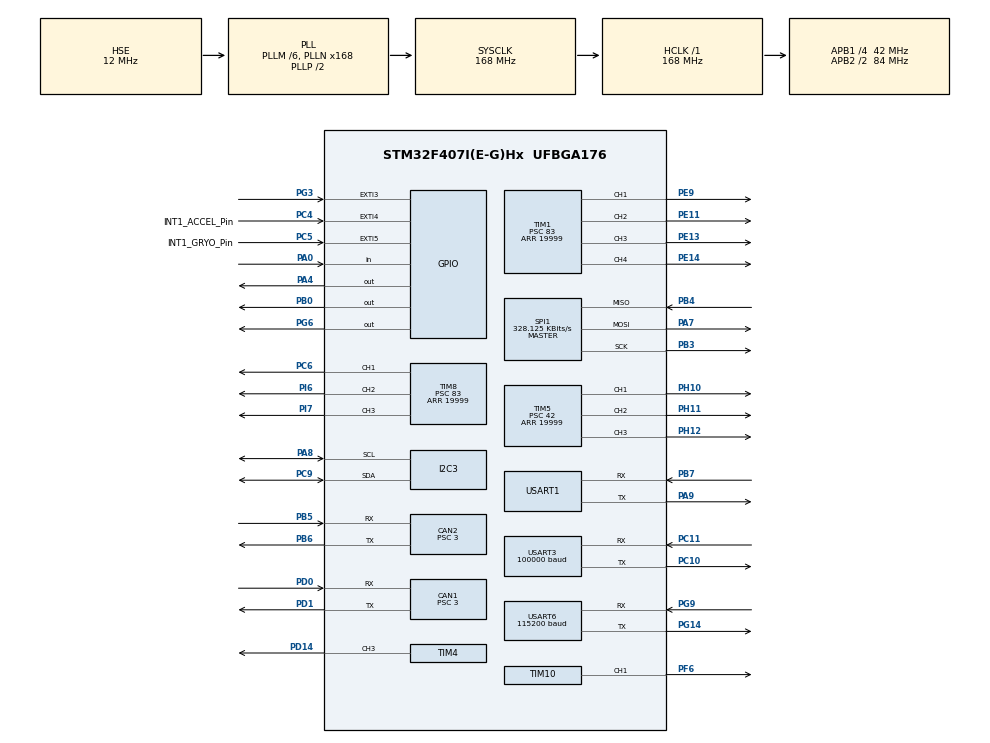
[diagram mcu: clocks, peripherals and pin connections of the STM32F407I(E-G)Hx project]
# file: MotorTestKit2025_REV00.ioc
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CAN1.BS1=CAN_BS1_10TQ
CAN1.BS2=CAN_BS2_3TQ
CAN1.CalculateBaudRate=1000000
CAN1.CalculateTimeBit=1000
CAN1.CalculateTimeQuantum=71.42857142857143
CAN1.Prescaler=3
CAN2.BS1=CAN_BS1_10TQ
CAN2.BS2=CAN_BS2_3TQ
CAN2.CalculateBaudRate=1000000
CAN2.CalculateTimeBit=1000
CAN2.CalculateTimeQuantum=71.42857142857143
CAN2.Prescaler=3
Dma.Request0=USART3_RX
Dma.Request1=USART1_RX
Dma.Request2=USART6_RX
Dma.USART1_RX.1.Direction=DMA_PERIPH_TO_MEMORY
Dma.USART1_RX.1.FIFOMode=DMA_FIFOMODE_DISABLE
Dma.USART1_RX.1.Instance=DMA2_Stream2
Dma.USART1_RX.1.MemDataAlignment=DMA_MDATAALIGN_BYTE
Dma.USART1_RX.1.MemInc=DMA_MINC_ENABLE
Dma.USART1_RX.1.Mode=DMA_NORMAL
Dma.USART1_RX.1.PeriphDataAlignment=DMA_PDATAALIGN_BYTE
Dma.USART1_RX.1.PeriphInc=DMA_PINC_DISABLE
Dma.USART1_RX.1.Priority=DMA_PRIORITY_VERY_HIGH
Dma.USART3_RX.0.Direction=DMA_PERIPH_TO_MEMORY
Dma.USART3_RX.0.FIFOMode=DMA_FIFOMODE_DISABLE
Dma.USART3_RX.0.Instance=DMA1_Stream1
Dma.USART3_RX.0.MemDataAlignment=DMA_MDATAALIGN_BYTE
Dma.USART3_RX.0.MemInc=DMA_MINC_ENABLE
Dma.USART3_RX.0.Mode=DMA_CIRCULAR
Dma.USART3_RX.0.PeriphDataAlignment=DMA_PDATAALIGN_BYTE
Dma.USART3_RX.0.PeriphInc=DMA_PINC_DISABLE
Dma.USART3_RX.0.Priority=DMA_PRIORITY_VERY_HIGH
Dma.USART6_RX.2.Direction=DMA_PERIPH_TO_MEMORY
Dma.USART6_RX.2.FIFOMode=DMA_FIFOMODE_DISABLE
Dma.USART6_RX.2.Instance=DMA2_Stream1
Dma.USART6_RX.2.MemDataAlignment=DMA_MDATAALIGN_BYTE
Dma.USART6_RX.2.MemInc=DMA_MINC_ENABLE
Dma.USART6_RX.2.Mode=DMA_NORMAL
Dma.USART6_RX.2.PeriphDataAlignment=DMA_PDATAALIGN_BYTE
Dma.USART6_RX.2.PeriphInc=DMA_PINC_DISABLE
Dma.USART6_RX.2.Priority=DMA_PRIORITY_VERY_HIGH
FREERTOS.INCLUDE_pcTaskGetTaskName=1
FREERTOS.INCLUDE_xTaskGetHandle=1
FREERTOS.Tasks01=FlowManager,48,128,StartFlowManager,Default,NULL,Dynamic,NULL,NULL;IMUtempPIDtask,24,512,imu_temp_control_task,As weak,NULL,Dynamic,NULL,NULL;ChassisTask,24,1024,StartChassisTask,Default,NULL,Dynamic,NULL,NULL
FREERTOS.configUSE_NEWLIB_REENTRANT=1
I2C3.I2C_Mode=I2C_Fast
Mcu.Family=STM32F4
Mcu.Name=STM32F407I(E-G)Hx
Mcu.Package=UFBGA176
NVIC.CAN1_RX0_IRQn=true\:5\:0\:false\:false\:true\:true\:true\:true\:true
NVIC.CAN2_RX0_IRQn=true\:5\:0\:false\:false\:true\:true\:true\:true\:true
NVIC.DMA1_Stream1_IRQn=true\:5\:0\:false\:false\:true\:true\:false\:true\:true
NVIC.DMA2_Stream1_IRQn=true\:5\:0\:false\:false\:true\:true\:false\:true\:true
NVIC.DMA2_Stream2_IRQn=true\:5\:0\:false\:false\:true\:true\:false\:true\:true
NVIC.EXTI3_IRQn=true\:5\:0\:false\:false\:true\:true\:true\:true\:true
NVIC.EXTI4_IRQn=true\:5\:0\:false\:false\:true\:true\:true\:true\:true
NVIC.PriorityGroup=NVIC_PRIORITYGROUP_4
NVIC.USART1_IRQn=true\:5\:0\:false\:false\:true\:true\:true\:true\:true
NVIC.USART6_IRQn=true\:5\:0\:false\:false\:true\:true\:true\:true\:true
PA0-WKUP.Signal=GPIO_Input
PA13.Mode=Serial_Wire
PA13.Signal=SYS_JTMS-SWDIO
PA14.Mode=Serial_Wire
PA14.Signal=SYS_JTCK-SWCLK
PA4.Signal=GPIO_Output
PA7.Mode=Full_Duplex_Master
PA7.Signal=SPI1_MOSI
PA8.Mode=I2C
PA8.Signal=I2C3_SCL
PA9.Mode=Asynchronous
PA9.Signal=USART1_TX
PB0.Signal=GPIO_Output
PB3.Mode=Full_Duplex_Master
PB3.Signal=SPI1_SCK
PB4.Mode=Full_Duplex_Master
PB4.Signal=SPI1_MISO
PB5.Mode=CAN_Activate
PB5.Signal=CAN2_RX
PB6.Mode=CAN_Activate
PB6.Signal=CAN2_TX
PB7.Mode=Asynchronous
PB7.Signal=USART1_RX
PC10.Mode=Asynchronous
PC10.Signal=USART3_TX
PC11.Mode=Asynchronous
PC11.Signal=USART3_RX
PC4.GPIO_Label=INT1_ACCEL_Pin
PC4.Signal=GPXTI4
PC5.GPIO_Label=INT1_GRYO_Pin
PC5.Signal=GPXTI5
PC6.Signal=S_TIM8_CH1
PC9.Mode=I2C
PC9.Signal=I2C3_SDA
PD0.Mode=CAN_Activate
PD0.Signal=CAN1_RX
PD1.Mode=CAN_Activate
PD1.Signal=CAN1_TX
PD14.Signal=S_TIM4_CH3
PE11.Signal=S_TIM1_CH2
PE13.Signal=S_TIM1_CH3
PE14.Signal=S_TIM1_CH4
PE9.Signal=S_TIM1_CH1
PF6.GPIO_PuPd=GPIO_PULLUP
PF6.GPIO_Speed=GPIO_SPEED_FREQ_HIGH
PF6.Signal=S_TIM10_CH1
PG14.Mode=Asynchronous
PG14.Signal=USART6_TX
PG3.Signal=GPXTI3
PG6.Signal=GPIO_Output
PG9.Mode=Asynchronous
PG9.Signal=USART6_RX
PH0-OSC_IN.Mode=HSE-External-Oscillator
PH0-OSC_IN.Signal=RCC_OSC_IN
PH1-OSC_OUT.Mode=HSE-External-Oscillator
PH1-OSC_OUT.Signal=RCC_OSC_OUT
PH10.Signal=S_TIM5_CH1
PH11.Signal=S_TIM5_CH2
PH12.Signal=S_TIM5_CH3
PI6.Signal=S_TIM8_CH2
PI7.Signal=S_TIM8_CH3
ProjectManager.HeapSize=0x200
ProjectManager.StackSize=0x400
ProjectManager.TargetToolchain=STM32CubeIDE
RCC.48MHZClocksFreq_Value=84000000
RCC.AHBFreq_Value=168000000
RCC.APB1CLKDivider=RCC_HCLK_DIV4
RCC.APB1Freq_Value=42000000
RCC.APB1TimFreq_Value=84000000
RCC.APB2CLKDivider=RCC_HCLK_DIV2
RCC.APB2Freq_Value=84000000
RCC.APB2TimFreq_Value=168000000
RCC.CortexFreq_Value=168000000
RCC.EnbaleCSS=true
RCC.HCLKFreq_Value=168000000
RCC.HSE_VALUE=12000000
RCC.HSI_VALUE=16000000
RCC.LSE_VALUE=32768
RCC.PLLM=6
RCC.PLLN=168
RCC.PLLSourceVirtual=RCC_PLLSOURCE_HSE
RCC.SYSCLKFreq_VALUE=168000000
RCC.SYSCLKSource=RCC_SYSCLKSOURCE_PLLCLK
RCC.VCOOutputFreq_Value=336000000
SH.S_TIM10_CH1.0=TIM10_CH1,PWM Generation1 CH1
SH.S_TIM1_CH1.0=TIM1_CH1,PWM Generation1 CH1
SH.S_TIM1_CH2.0=TIM1_CH2,PWM Generation2 CH2
SH.S_TIM1_CH3.0=TIM1_CH3,PWM Generation3 CH3
SH.S_TIM1_CH4.0=TIM1_CH4,PWM Generation4 CH4
SH.S_TIM4_CH3.0=TIM4_CH3,PWM Generation3 CH3
SH.S_TIM5_CH1.0=TIM5_CH1,PWM Generation1 CH1
SH.S_TIM5_CH2.0=TIM5_CH2,PWM Generation2 CH2
SH.S_TIM5_CH3.0=TIM5_CH3,PWM Generation3 CH3
SH.S_TIM8_CH1.0=TIM8_CH1,PWM Generation1 CH1
SH.S_TIM8_CH2.0=TIM8_CH2,PWM Generation2 CH2
SH.S_TIM8_CH3.0=TIM8_CH3,PWM Generation3 CH3
SPI1.BaudRatePrescaler=SPI_BAUDRATEPRESCALER_256
SPI1.CLKPhase=SPI_PHASE_2EDGE
SPI1.CLKPolarity=SPI_POLARITY_HIGH
SPI1.CalculateBaudRate=328.125 KBits/s
SPI1.Direction=SPI_DIRECTION_2LINES
SPI1.Mode=SPI_MODE_MASTER
SPI1.VirtualType=VM_MASTER
TIM1.AutoReloadPreload=TIM_AUTORELOAD_PRELOAD_DISABLE
TIM1.Channel-PWM\ Generation1\ CH1=TIM_CHANNEL_1
TIM1.Channel-PWM\ Generation2\ CH2=TIM_CHANNEL_2
TIM1.Channel-PWM\ Generation3\ CH3=TIM_CHANNEL_3
TIM1.Channel-PWM\ Generation4\ CH4=TIM_CHANNEL_4
TIM1.Period=19999
TIM1.Prescaler=83
TIM1.Pulse-PWM\ Generation1\ CH1=0
TIM10.Channel=TIM_CHANNEL_1
TIM10.Period=4999
TIM4.AutoReloadPreload=TIM_AUTORELOAD_PRELOAD_ENABLE
TIM4.Channel-PWM\ Generation3\ CH3=TIM_CHANNEL_3
TIM4.Period=20999
TIM4.Pulse-PWM\ Generation3\ CH3=10499
TIM5.Channel-PWM\ Generation1\ CH1=TIM_CHANNEL_1
TIM5.Channel-PWM\ Generation2\ CH2=TIM_CHANNEL_2
TIM5.Channel-PWM\ Generation3\ CH3=TIM_CHANNEL_3
TIM5.Period=19999
TIM5.Prescaler=42
TIM8.AutoReloadPreload=TIM_AUTORELOAD_PRELOAD_ENABLE
TIM8.Channel-PWM\ Generation1\ CH1=TIM_CHANNEL_1
TIM8.Channel-PWM\ Generation2\ CH2=TIM_CHANNEL_2
TIM8.Channel-PWM\ Generation3\ CH3=TIM_CHANNEL_3
TIM8.Period=19999
TIM8.Prescaler=83
USART1.VirtualMode=VM_ASYNC
USART3.BaudRate=100000
USART3.Parity=PARITY_EVEN
USART3.VirtualMode=VM_ASYNC
USART6.BaudRate=115200
USART6.VirtualMode=VM_ASYNC
VP_FREERTOS_VS_CMSIS_V2.Mode=CMSIS_V2
VP_TIM10_VS_ClockSourceINT.Mode=Enable_Timer
VP_TIM4_VS_ClockSourceINT.Mode=Internal
board=custom

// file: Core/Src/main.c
/* USER CODE BEGIN Header */
/**
  ******************************************************************************
  * @file           : main.c
  * @brief          : Main program body
  ******************************************************************************
  * @attention
  *
  * Copyright (c) 2025 STMicroelectronics.
  * All rights reserved.
  *
  * This software is licensed under terms that can be found in the LICENSE file
  * in the root directory of this software component.
  * If no LICENSE file comes with this software, it is provided AS-IS.
  *
  ******************************************************************************
  */
/* USER CODE END Header */
#include "main.h"
#include "cmsis_os.h"

/* USER CODE BEGIN Includes */
#include "UART_RM25.h"
#include "DBUS.h"
// #include "CC_Handler.h"
#include "CAN.h"
#include "CAL_RM25.h"

#include "BMI088driver.h"
#include "BMI088Middleware.h"
#include "BMI088reg.h"
#include "SWERVE.h"
#include "SwerveBuffer.h"
/* USER CODE END Includes */

CAN_HandleTypeDef hcan1;
CAN_HandleTypeDef hcan2;

I2C_HandleTypeDef hi2c3;

SPI_HandleTypeDef hspi1;

TIM_HandleTypeDef htim1;
TIM_HandleTypeDef htim4;
TIM_HandleTypeDef htim5;
TIM_HandleTypeDef htim8;
TIM_HandleTypeDef htim10;

UART_HandleTypeDef huart1;
UART_HandleTypeDef huart3;
UART_HandleTypeDef huart6;
DMA_HandleTypeDef hdma_usart1_rx;
DMA_HandleTypeDef hdma_usart3_rx;
DMA_HandleTypeDef hdma_usart6_rx;

/* Definitions for FlowManager */
osThreadId_t FlowManagerHandle;
const osThreadAttr_t FlowManager_attributes = {
  .name = "FlowManager",
  .stack_size = 128 * 4,
  .priority = (osPriority_t) osPriorityRealtime,
};
/* Definitions for IMUtempPIDtask */
osThreadId_t IMUtempPIDtaskHandle;
const osThreadAttr_t IMUtempPIDtask_attributes = {
  .name = "IMUtempPIDtask",
  .stack_size = 512 * 4,
  .priority = (osPriority_t) osPriorityNormal,
};
/* Definitions for ChassisTask */
osThreadId_t ChassisTaskHandle;
const osThreadAttr_t ChassisTask_attributes = {
  .name = "ChassisTask",
  .stack_size = 1024 * 4,
  .priority = (osPriority_t) osPriorityNormal,
};

void SystemClock_Config(void);
static void MX_GPIO_Init(void);
static void MX_DMA_Init(void);
static void MX_CAN1_Init(void);
static void MX_CAN2_Init(void);
static void MX_SPI1_Init(void);
static void MX_TIM4_Init(void);
static void MX_USART1_UART_Init(void);
static void MX_USART6_UART_Init(void);
static void MX_TIM1_Init(void);
static void MX_TIM8_Init(void);
static void MX_USART3_UART_Init(void);
static void MX_TIM10_Init(void);
static void MX_I2C3_Init(void);
static void MX_TIM5_Init(void);
void StartFlowManager(void *argument);
void imu_temp_control_task(void *argument);
void StartChassisTask(void *argument);

int main(void)
{

  /* MCU Configuration--------------------------------------------------------*/

  /* Reset of all peripherals, Initializes the Flash interface and the Systick. */
  HAL_Init();

  /* Configure the system clock */
  SystemClock_Config();

  /* Initialize all configured peripherals */
  MX_GPIO_Init();
  MX_DMA_Init();
  MX_CAN1_Init();
  MX_CAN2_Init();
  MX_SPI1_Init();
  MX_TIM4_Init();
  MX_USART1_UART_Init();
  MX_USART6_UART_Init();
  MX_TIM1_Init();
  MX_TIM8_Init();
  MX_USART3_UART_Init();
  MX_TIM10_Init();
  MX_I2C3_Init();
  MX_TIM5_Init();

  /* Init scheduler */
  osKernelInitialize();

  /* Create the thread(s) */
  /* creation of FlowManager */
  FlowManagerHandle = osThreadNew(StartFlowManager, NULL, &FlowManager_attributes);

  /* creation of IMUtempPIDtask */
  IMUtempPIDtaskHandle = osThreadNew(imu_temp_control_task, NULL, &IMUtempPIDtask_attributes);

  /* creation of ChassisTask */
  ChassisTaskHandle = osThreadNew(StartChassisTask, NULL, &ChassisTask_attributes);

  /* Start scheduler */
  osKernelStart();

  /* We should never get here as control is now taken by the scheduler */

  /* Infinite loop */
  while (1)
  {

  }
}

void SystemClock_Config(void)
{
  RCC_OscInitTypeDef RCC_OscInitStruct = {0};
  RCC_ClkInitTypeDef RCC_ClkInitStruct = {0};

  /** Configure the main internal regulator output voltage
  */
  __HAL_RCC_PWR_CLK_ENABLE();
  __HAL_PWR_VOLTAGESCALING_CONFIG(PWR_REGULATOR_VOLTAGE_SCALE1);

  /** Initializes the RCC Oscillators according to the specified parameters
  * in the RCC_OscInitTypeDef structure.
  */
  RCC_OscInitStruct.OscillatorType = RCC_OSCILLATORTYPE_HSE;
  RCC_OscInitStruct.HSEState = RCC_HSE_ON;
  RCC_OscInitStruct.PLL.PLLState = RCC_PLL_ON;
  RCC_OscInitStruct.PLL.PLLSource = RCC_PLLSOURCE_HSE;
  RCC_OscInitStruct.PLL.PLLM = 6;
  RCC_OscInitStruct.PLL.PLLN = 168;
  RCC_OscInitStruct.PLL.PLLP = RCC_PLLP_DIV2;
  RCC_OscInitStruct.PLL.PLLQ = 4;
  if (HAL_RCC_OscConfig(&RCC_OscInitStruct) != HAL_OK)
  {
    Error_Handler();
  }

  /** Initializes the CPU, AHB and APB buses clocks
  */
  RCC_ClkInitStruct.ClockType = RCC_CLOCKTYPE_HCLK|RCC_CLOCKTYPE_SYSCLK
                              |RCC_CLOCKTYPE_PCLK1|RCC_CLOCKTYPE_PCLK2;
  RCC_ClkInitStruct.SYSCLKSource = RCC_SYSCLKSOURCE_PLLCLK;
  RCC_ClkInitStruct.AHBCLKDivider = RCC_SYSCLK_DIV1;
  RCC_ClkInitStruct.APB1CLKDivider = RCC_HCLK_DIV4;
  RCC_ClkInitStruct.APB2CLKDivider = RCC_HCLK_DIV2;

  if (HAL_RCC_ClockConfig(&RCC_ClkInitStruct, FLASH_LATENCY_5) != HAL_OK)
  {
    Error_Handler();
  }

  /** Enables the Clock Security System
  */
  HAL_RCC_EnableCSS();
}

static void MX_CAN1_Init(void)
{

  hcan1.Instance = CAN1;
  hcan1.Init.Prescaler = 3;
  hcan1.Init.Mode = CAN_MODE_NORMAL;
  hcan1.Init.SyncJumpWidth = CAN_SJW_1TQ;
  hcan1.Init.TimeSeg1 = CAN_BS1_10TQ;
  hcan1.Init.TimeSeg2 = CAN_BS2_3TQ;
  hcan1.Init.TimeTriggeredMode = DISABLE;
  hcan1.Init.AutoBusOff = DISABLE;
  hcan1.Init.AutoWakeUp = DISABLE;
  hcan1.Init.AutoRetransmission = DISABLE;
  hcan1.Init.ReceiveFifoLocked = DISABLE;
  hcan1.Init.TransmitFifoPriority = DISABLE;
  if (HAL_CAN_Init(&hcan1) != HAL_OK)
  {
    Error_Handler();
  }

}

static void MX_CAN2_Init(void)
{

  hcan2.Instance = CAN2;
  hcan2.Init.Prescaler = 3;
  hcan2.Init.Mode = CAN_MODE_NORMAL;
  hcan2.Init.SyncJumpWidth = CAN_SJW_1TQ;
  hcan2.Init.TimeSeg1 = CAN_BS1_10TQ;
  hcan2.Init.TimeSeg2 = CAN_BS2_3TQ;
  hcan2.Init.TimeTriggeredMode = DISABLE;
  hcan2.Init.AutoBusOff = DISABLE;
  hcan2.Init.AutoWakeUp = DISABLE;
  hcan2.Init.AutoRetransmission = DISABLE;
  hcan2.Init.ReceiveFifoLocked = DISABLE;
  hcan2.Init.TransmitFifoPriority = DISABLE;
  if (HAL_CAN_Init(&hcan2) != HAL_OK)
  {
    Error_Handler();
  }

}

static void MX_I2C3_Init(void)
{

  hi2c3.Instance = I2C3;
  hi2c3.Init.ClockSpeed = 400000;
  hi2c3.Init.DutyCycle = I2C_DUTYCYCLE_2;
  hi2c3.Init.OwnAddress1 = 0;
  hi2c3.Init.AddressingMode = I2C_ADDRESSINGMODE_7BIT;
  hi2c3.Init.DualAddressMode = I2C_DUALADDRESS_DISABLE;
  hi2c3.Init.OwnAddress2 = 0;
  hi2c3.Init.GeneralCallMode = I2C_GENERALCALL_DISABLE;
  hi2c3.Init.NoStretchMode = I2C_NOSTRETCH_DISABLE;
  if (HAL_I2C_Init(&hi2c3) != HAL_OK)
  {
    Error_Handler();
  }

}

static void MX_SPI1_Init(void)
{

  /* SPI1 parameter configuration*/
  hspi1.Instance = SPI1;
  hspi1.Init.Mode = SPI_MODE_MASTER;
  hspi1.Init.Direction = SPI_DIRECTION_2LINES;
  hspi1.Init.DataSize = SPI_DATASIZE_8BIT;
  hspi1.Init.CLKPolarity = SPI_POLARITY_HIGH;
  hspi1.Init.CLKPhase = SPI_PHASE_2EDGE;
  hspi1.Init.NSS = SPI_NSS_SOFT;
  hspi1.Init.BaudRatePrescaler = SPI_BAUDRATEPRESCALER_256;
  hspi1.Init.FirstBit = SPI_FIRSTBIT_MSB;
  hspi1.Init.TIMode = SPI_TIMODE_DISABLE;
  hspi1.Init.CRCCalculation = SPI_CRCCALCULATION_DISABLE;
  hspi1.Init.CRCPolynomial = 10;
  if (HAL_SPI_Init(&hspi1) != HAL_OK)
  {
    Error_Handler();
  }

}

static void MX_TIM1_Init(void)
{

  TIM_MasterConfigTypeDef sMasterConfig = {0};
  TIM_OC_InitTypeDef sConfigOC = {0};
  TIM_BreakDeadTimeConfigTypeDef sBreakDeadTimeConfig = {0};

  htim1.Instance = TIM1;
  htim1.Init.Prescaler = 83;
  htim1.Init.CounterMode = TIM_COUNTERMODE_UP;
  htim1.Init.Period = 19999;
  htim1.Init.ClockDivision = TIM_CLOCKDIVISION_DIV1;
  htim1.Init.RepetitionCounter = 0;
  htim1.Init.AutoReloadPreload = TIM_AUTORELOAD_PRELOAD_DISABLE;
  if (HAL_TIM_PWM_Init(&htim1) != HAL_OK)
  {
    Error_Handler();
  }
  sMasterConfig.MasterOutputTrigger = TIM_TRGO_RESET;
  sMasterConfig.MasterSlaveMode = TIM_MASTERSLAVEMODE_DISABLE;
  if (HAL_TIMEx_MasterConfigSynchronization(&htim1, &sMasterConfig) != HAL_OK)
  {
    Error_Handler();
  }
  sConfigOC.OCMode = TIM_OCMODE_PWM1;
  sConfigOC.Pulse = 0;
  sConfigOC.OCPolarity = TIM_OCPOLARITY_HIGH;
  sConfigOC.OCNPolarity = TIM_OCNPOLARITY_HIGH;
  sConfigOC.OCFastMode = TIM_OCFAST_DISABLE;
  sConfigOC.OCIdleState = TIM_OCIDLESTATE_RESET;
  sConfigOC.OCNIdleState = TIM_OCNIDLESTATE_RESET;
  if (HAL_TIM_PWM_ConfigChannel(&htim1, &sConfigOC, TIM_CHANNEL_1) != HAL_OK)
  {
    Error_Handler();
  }
  if (HAL_TIM_PWM_ConfigChannel(&htim1, &sConfigOC, TIM_CHANNEL_2) != HAL_OK)
  {
    Error_Handler();
  }
  if (HAL_TIM_PWM_ConfigChannel(&htim1, &sConfigOC, TIM_CHANNEL_3) != HAL_OK)
  {
    Error_Handler();
  }
  if (HAL_TIM_PWM_ConfigChannel(&htim1, &sConfigOC, TIM_CHANNEL_4) != HAL_OK)
  {
    Error_Handler();
  }
  sBreakDeadTimeConfig.OffStateRunMode = TIM_OSSR_DISABLE;
  sBreakDeadTimeConfig.OffStateIDLEMode = TIM_OSSI_DISABLE;
  sBreakDeadTimeConfig.LockLevel = TIM_LOCKLEVEL_OFF;
  sBreakDeadTimeConfig.DeadTime = 0;
  sBreakDeadTimeConfig.BreakState = TIM_BREAK_DISABLE;
  sBreakDeadTimeConfig.BreakPolarity = TIM_BREAKPOLARITY_HIGH;
  sBreakDeadTimeConfig.AutomaticOutput = TIM_AUTOMATICOUTPUT_DISABLE;
  if (HAL_TIMEx_ConfigBreakDeadTime(&htim1, &sBreakDeadTimeConfig) != HAL_OK)
  {
    Error_Handler();
  }
  HAL_TIM_MspPostInit(&htim1);

}

static void MX_TIM4_Init(void)
{

  TIM_ClockConfigTypeDef sClockSourceConfig = {0};
  TIM_MasterConfigTypeDef sMasterConfig = {0};
  TIM_OC_InitTypeDef sConfigOC = {0};

  htim4.Instance = TIM4;
  htim4.Init.Prescaler = 0;
  htim4.Init.CounterMode = TIM_COUNTERMODE_UP;
  htim4.Init.Period = 20999;
  htim4.Init.ClockDivision = TIM_CLOCKDIVISION_DIV1;
  htim4.Init.AutoReloadPreload = TIM_AUTORELOAD_PRELOAD_ENABLE;
  if (HAL_TIM_Base_Init(&htim4) != HAL_OK)
  {
    Error_Handler();
  }
  sClockSourceConfig.ClockSource = TIM_CLOCKSOURCE_INTERNAL;
  if (HAL_TIM_ConfigClockSource(&htim4, &sClockSourceConfig) != HAL_OK)
  {
    Error_Handler();
  }
  if (HAL_TIM_PWM_Init(&htim4) != HAL_OK)
  {
    Error_Handler();
  }
  sMasterConfig.MasterOutputTrigger = TIM_TRGO_RESET;
  sMasterConfig.MasterSlaveMode = TIM_MASTERSLAVEMODE_DISABLE;
  if (HAL_TIMEx_MasterConfigSynchronization(&htim4, &sMasterConfig) != HAL_OK)
  {
    Error_Handler();
  }
  sConfigOC.OCMode = TIM_OCMODE_PWM1;
  sConfigOC.Pulse = 10499;
  sConfigOC.OCPolarity = TIM_OCPOLARITY_HIGH;
  sConfigOC.OCFastMode = TIM_OCFAST_DISABLE;
  if (HAL_TIM_PWM_ConfigChannel(&htim4, &sConfigOC, TIM_CHANNEL_3) != HAL_OK)
  {
    Error_Handler();
  }
  HAL_TIM_MspPostInit(&htim4);

}

static void MX_TIM5_Init(void)
{

  TIM_MasterConfigTypeDef sMasterConfig = {0};
  TIM_OC_InitTypeDef sConfigOC = {0};

  htim5.Instance = TIM5;
  htim5.Init.Prescaler = 42;
  htim5.Init.CounterMode = TIM_COUNTERMODE_UP;
  htim5.Init.Period = 19999;
  htim5.Init.ClockDivision = TIM_CLOCKDIVISION_DIV1;
  htim5.Init.AutoReloadPreload = TIM_AUTORELOAD_PRELOAD_DISABLE;
  if (HAL_TIM_PWM_Init(&htim5) != HAL_OK)
  {
    Error_Handler();
  }
  sMasterConfig.MasterOutputTrigger = TIM_TRGO_RESET;
  sMasterConfig.MasterSlaveMode = TIM_MASTERSLAVEMODE_DISABLE;
  if (HAL_TIMEx_MasterConfigSynchronization(&htim5, &sMasterConfig) != HAL_OK)
  {
    Error_Handler();
  }
  sConfigOC.OCMode = TIM_OCMODE_PWM1;
  sConfigOC.Pulse = 0;
  sConfigOC.OCPolarity = TIM_OCPOLARITY_HIGH;
  sConfigOC.OCFastMode = TIM_OCFAST_DISABLE;
  if (HAL_TIM_PWM_ConfigChannel(&htim5, &sConfigOC, TIM_CHANNEL_1) != HAL_OK)
  {
    Error_Handler();
  }
  if (HAL_TIM_PWM_ConfigChannel(&htim5, &sConfigOC, TIM_CHANNEL_2) != HAL_OK)
  {
    Error_Handler();
  }
  if (HAL_TIM_PWM_ConfigChannel(&htim5, &sConfigOC, TIM_CHANNEL_3) != HAL_OK)
  {
    Error_Handler();
  }
  HAL_TIM_MspPostInit(&htim5);

}

static void MX_TIM8_Init(void)
{

  TIM_MasterConfigTypeDef sMasterConfig = {0};
  TIM_OC_InitTypeDef sConfigOC = {0};
  TIM_BreakDeadTimeConfigTypeDef sBreakDeadTimeConfig = {0};

  htim8.Instance = TIM8;
  htim8.Init.Prescaler = 83;
  htim8.Init.CounterMode = TIM_COUNTERMODE_UP;
  htim8.Init.Period = 19999;
  htim8.Init.ClockDivision = TIM_CLOCKDIVISION_DIV1;
  htim8.Init.RepetitionCounter = 0;
  htim8.Init.AutoReloadPreload = TIM_AUTORELOAD_PRELOAD_ENABLE;
  if (HAL_TIM_PWM_Init(&htim8) != HAL_OK)
  {
    Error_Handler();
  }
  sMasterConfig.MasterOutputTrigger = TIM_TRGO_RESET;
  sMasterConfig.MasterSlaveMode = TIM_MASTERSLAVEMODE_DISABLE;
  if (HAL_TIMEx_MasterConfigSynchronization(&htim8, &sMasterConfig) != HAL_OK)
  {
    Error_Handler();
  }
  sConfigOC.OCMode = TIM_OCMODE_PWM1;
  sConfigOC.Pulse = 0;
  sConfigOC.OCPolarity = TIM_OCPOLARITY_HIGH;
  sConfigOC.OCNPolarity = TIM_OCNPOLARITY_HIGH;
  sConfigOC.OCFastMode = TIM_OCFAST_DISABLE;
  sConfigOC.OCIdleState = TIM_OCIDLESTATE_RESET;
  sConfigOC.OCNIdleState = TIM_OCNIDLESTATE_RESET;
  if (HAL_TIM_PWM_ConfigChannel(&htim8, &sConfigOC, TIM_CHANNEL_1) != HAL_OK)
  {
    Error_Handler();
  }
  if (HAL_TIM_PWM_ConfigChannel(&htim8, &sConfigOC, TIM_CHANNEL_2) != HAL_OK)
  {
    Error_Handler();
  }
  if (HAL_TIM_PWM_ConfigChannel(&htim8, &sConfigOC, TIM_CHANNEL_3) != HAL_OK)
  {
    Error_Handler();
  }
  sBreakDeadTimeConfig.OffStateRunMode = TIM_OSSR_DISABLE;
  sBreakDeadTimeConfig.OffStateIDLEMode = TIM_OSSI_DISABLE;
  sBreakDeadTimeConfig.LockLevel = TIM_LOCKLEVEL_OFF;
  sBreakDeadTimeConfig.DeadTime = 0;
  sBreakDeadTimeConfig.BreakState = TIM_BREAK_DISABLE;
  sBreakDeadTimeConfig.BreakPolarity = TIM_BREAKPOLARITY_HIGH;
  sBreakDeadTimeConfig.AutomaticOutput = TIM_AUTOMATICOUTPUT_DISABLE;
  if (HAL_TIMEx_ConfigBreakDeadTime(&htim8, &sBreakDeadTimeConfig) != HAL_OK)
  {
    Error_Handler();
  }
  HAL_TIM_MspPostInit(&htim8);

}

static void MX_TIM10_Init(void)
{

  TIM_OC_InitTypeDef sConfigOC = {0};

  htim10.Instance = TIM10;
  htim10.Init.Prescaler = 0;
  htim10.Init.CounterMode = TIM_COUNTERMODE_UP;
  htim10.Init.Period = 4999;
  htim10.Init.ClockDivision = TIM_CLOCKDIVISION_DIV1;
  htim10.Init.AutoReloadPreload = TIM_AUTORELOAD_PRELOAD_DISABLE;
  if (HAL_TIM_Base_Init(&htim10) != HAL_OK)
  {
    Error_Handler();
  }
  if (HAL_TIM_PWM_Init(&htim10) != HAL_OK)
  {
    Error_Handler();
  }
  sConfigOC.OCMode = TIM_OCMODE_PWM1;
  sConfigOC.Pulse = 0;
  sConfigOC.OCPolarity = TIM_OCPOLARITY_HIGH;
  sConfigOC.OCFastMode = TIM_OCFAST_DISABLE;
  if (HAL_TIM_PWM_ConfigChannel(&htim10, &sConfigOC, TIM_CHANNEL_1) != HAL_OK)
  {
    Error_Handler();
  }
  HAL_TIM_MspPostInit(&htim10);

}

static void MX_USART1_UART_Init(void)
{

  huart1.Instance = USART1;
  huart1.Init.BaudRate = 115200;
  huart1.Init.WordLength = UART_WORDLENGTH_8B;
  huart1.Init.StopBits = UART_STOPBITS_1;
  huart1.Init.Parity = UART_PARITY_NONE;
  huart1.Init.Mode = UART_MODE_TX_RX;
  huart1.Init.HwFlowCtl = UART_HWCONTROL_NONE;
  huart1.Init.OverSampling = UART_OVERSAMPLING_16;
  if (HAL_UART_Init(&huart1) != HAL_OK)
  {
    Error_Handler();
  }

}

static void MX_USART3_UART_Init(void)
{

  huart3.Instance = USART3;
  huart3.Init.BaudRate = 100000;
  huart3.Init.WordLength = UART_WORDLENGTH_8B;
  huart3.Init.StopBits = UART_STOPBITS_1;
  huart3.Init.Parity = UART_PARITY_EVEN;
  huart3.Init.Mode = UART_MODE_TX_RX;
  huart3.Init.HwFlowCtl = UART_HWCONTROL_NONE;
  huart3.Init.OverSampling = UART_OVERSAMPLING_16;
  if (HAL_UART_Init(&huart3) != HAL_OK)
  {
    Error_Handler();
  }

}

static void MX_USART6_UART_Init(void)
{

  huart6.Instance = USART6;
  huart6.Init.BaudRate = 115200;
  huart6.Init.WordLength = UART_WORDLENGTH_8B;
  huart6.Init.StopBits = UART_STOPBITS_1;
  huart6.Init.Parity = UART_PARITY_NONE;
  huart6.Init.Mode = UART_MODE_TX_RX;
  huart6.Init.HwFlowCtl = UART_HWCONTROL_NONE;
  huart6.Init.OverSampling = UART_OVERSAMPLING_16;
  if (HAL_UART_Init(&huart6) != HAL_OK)
  {
    Error_Handler();
  }

}

static void MX_DMA_Init(void)
{

  /* DMA controller clock enable */
  __HAL_RCC_DMA1_CLK_ENABLE();
  __HAL_RCC_DMA2_CLK_ENABLE();

  /* DMA interrupt init */
  /* DMA1_Stream1_IRQn interrupt configuration */
  HAL_NVIC_SetPriority(DMA1_Stream1_IRQn, 5, 0);
  HAL_NVIC_EnableIRQ(DMA1_Stream1_IRQn);
  /* DMA2_Stream1_IRQn interrupt configuration */
  HAL_NVIC_SetPriority(DMA2_Stream1_IRQn, 5, 0);
  HAL_NVIC_EnableIRQ(DMA2_Stream1_IRQn);
  /* DMA2_Stream2_IRQn interrupt configuration */
  HAL_NVIC_SetPriority(DMA2_Stream2_IRQn, 5, 0);
  HAL_NVIC_EnableIRQ(DMA2_Stream2_IRQn);

}

static void MX_GPIO_Init(void)
{
  GPIO_InitTypeDef GPIO_InitStruct = {0};

  /* GPIO Ports Clock Enable */
  __HAL_RCC_GPIOB_CLK_ENABLE();
  __HAL_RCC_GPIOG_CLK_ENABLE();
  __HAL_RCC_GPIOA_CLK_ENABLE();
  __HAL_RCC_GPIOD_CLK_ENABLE();
  __HAL_RCC_GPIOC_CLK_ENABLE();
  __HAL_RCC_GPIOI_CLK_ENABLE();
  __HAL_RCC_GPIOH_CLK_ENABLE();
  __HAL_RCC_GPIOF_CLK_ENABLE();
  __HAL_RCC_GPIOE_CLK_ENABLE();

  /*Configure GPIO pin Output Level */
  HAL_GPIO_WritePin(GPIOG, GPIO_PIN_6, GPIO_PIN_RESET);

  /*Configure GPIO pin Output Level */
  HAL_GPIO_WritePin(GPIOA, GPIO_PIN_4, GPIO_PIN_RESET);

  /*Configure GPIO pin Output Level */
  HAL_GPIO_WritePin(GPIOB, GPIO_PIN_0, GPIO_PIN_RESET);

  /*Configure GPIO pin : PG6 */
  GPIO_InitStruct.Pin = GPIO_PIN_6;
  GPIO_InitStruct.Mode = GPIO_MODE_OUTPUT_PP;
  GPIO_InitStruct.Pull = GPIO_NOPULL;
  GPIO_InitStruct.Speed = GPIO_SPEED_FREQ_LOW;
  HAL_GPIO_Init(GPIOG, &GPIO_InitStruct);

  /*Configure GPIO pin : PG3 */
  GPIO_InitStruct.Pin = GPIO_PIN_3;
  GPIO_InitStruct.Mode = GPIO_MODE_IT_RISING;
  GPIO_InitStruct.Pull = GPIO_NOPULL;
  HAL_GPIO_Init(GPIOG, &GPIO_InitStruct);

  /*Configure GPIO pin : PA0 */
  GPIO_InitStruct.Pin = GPIO_PIN_0;
  GPIO_InitStruct.Mode = GPIO_MODE_INPUT;
  GPIO_InitStruct.Pull = GPIO_NOPULL;
  HAL_GPIO_Init(GPIOA, &GPIO_InitStruct);

  /*Configure GPIO pin : PA4 */
  GPIO_InitStruct.Pin = GPIO_PIN_4;
  GPIO_InitStruct.Mode = GPIO_MODE_OUTPUT_PP;
  GPIO_InitStruct.Pull = GPIO_NOPULL;
  GPIO_InitStruct.Speed = GPIO_SPEED_FREQ_LOW;
  HAL_GPIO_Init(GPIOA, &GPIO_InitStruct);

  /*Configure GPIO pins : INT1_ACCEL_Pin_Pin INT1_GRYO_Pin_Pin */
  GPIO_InitStruct.Pin = INT1_ACCEL_Pin_Pin|INT1_GRYO_Pin_Pin;
  GPIO_InitStruct.Mode = GPIO_MODE_IT_RISING;
  GPIO_InitStruct.Pull = GPIO_NOPULL;
  HAL_GPIO_Init(GPIOC, &GPIO_InitStruct);

  /*Configure GPIO pin : PB0 */
  GPIO_InitStruct.Pin = GPIO_PIN_0;
  GPIO_InitStruct.Mode = GPIO_MODE_OUTPUT_PP;
  GPIO_InitStruct.Pull = GPIO_NOPULL;
  GPIO_InitStruct.Speed = GPIO_SPEED_FREQ_LOW;
  HAL_GPIO_Init(GPIOB, &GPIO_InitStruct);

  /* EXTI interrupt init*/
  HAL_NVIC_SetPriority(EXTI3_IRQn, 5, 0);
  HAL_NVIC_EnableIRQ(EXTI3_IRQn);

  HAL_NVIC_SetPriority(EXTI4_IRQn, 5, 0);
  HAL_NVIC_EnableIRQ(EXTI4_IRQn);

}

void StartFlowManager(void *argument)
{
  /* USER CODE BEGIN 5 */
	uint8_t iCount = 0;

	DBUS_Rx_Init(&huart3);

	UART_Ex_Init(&huart1);
	UART_Ex_Init(&huart6);
	CAN_Init();
	BMI088_gyro_init();
	BMI088_accel_init();
  /* Infinite loop */
  for(;;)
  {
	  DBUS_Update();

	  // UART_Printf(&huart1, "%d %d\r\n", CAL_getBufferEnergy(), CAL_getPowerLimit());

	  if(iCount%3==0){
		  CAL_Update();
	  }

	  //UART_Printf(&huart6,"DBUS Check: %d %d \n", getDR16_W(),getCC_W());
	  //UART_Printfmt(&huart6,"%d \n",getDR16_CH1());

	  if(iCount<255){
		  iCount++;
	  }else{
		  iCount = 0;
	  }
	  osDelay(1);
  }
  /* USER CODE END 5 */
}

__weak void imu_temp_control_task(void *argument)
{
  for(;;)
  {
    osDelay(1);
  }
}

/* USER CODE BEGIN Header_StartChassisTask */
/*
* @brief Function implementing the ChassisTask thread.
* @param argument: Not used
* @retval None
*/
/* USER CODE END Header_StartChassisTask */
void StartChassisTask(void *argument)
{
  /* USER CODE BEGIN StartChassisTask */

	/*
	You can write PID presets here
	EXAMPLE: PID_preset_t motorDrive1 = {300.0, 0.0001, 120.5};
		This will create a struct of PID_preset_t with PID values of 300.0f, 0.0001f, and 120.5f accordingly
	*/
	float accelR[3] = {0, 0, 0};
	int16_t gyroR[3] = {0, 0, 0};
	/*
	float averate[3][200] = {0};
	*/
	float SmartAve[4][3] = {0};

	uint16_t counter = 0;
  /* Infinite loop */
  for(;;)
  {
	  /*
		Hello!!! Welcome to the motor testing kit!

		Given Commands:
			UART_Printf(&huart1, "%d %d\r\n", CAL_getBufferEnergy(), CAL_getPowerLimit());
				Used to send TXT through UART such that the computer can read
				Uses default printf formatting except for an extra parameter at the front.
				This parameter will dictate which UART port is used.
					&huart1 = 4 pin UART
					&huart2 = 3 pin UART

				EXAMPLE: UART_Printf(&huart1, "Beanis: %d\r\n", 50);
					This will output: Beanis: 50
					this function returns nothing

			CAL_getCHX
				Replace X with 0 to 3, This allows

		CAN COMMANDS:
			getRotorPosition(CAN_Bus bus, MotorType_ID motorType, int8_t motorID);
				Used to get the current Rotor Position from 0 - 8191
				Note that this is the rotor side. This means that for the 3508, it's the fast spinning side, and not the gearbox side

				EXAMPLE: uint16_t pos = getRotorPosition(Bus1, M3508, 1);
					This will get the position encoder of the rotor from Bus 1 and motor ID of 1
					This function outputs an unsigned 16 bit integer.

			getMotorRPM(CAN_Bus bus, MotorType_ID motorType, int8_t motorID);
				Used to get the current Motor RPM
				Note that this is the Rotor side. This means that for the 3508, it's the fast spinning side, and not the gearbox side

				EXAMPLE: int16_t rps = getRotorRPM(Bus1, M3508, 1);
					This will get the position encoder of the Motor from Bus 1 and motor ID of 1
					This function outputs an unsigned 16 bit integer.

			setMotorRPM(CAN_Bus bus, MotorType_ID motorType, int8_t motorID, int16_t RPMtarget, PID_preset_t preset);
				Used to set the motor RPM
				This function automatically uses the "getMotorRPM()" as the RPM process variable
				Do note you will have to tune your own custom PID

				EXAMPLE: setMotorRPM(Bus1, M3508, 1, 10, motorDrive1);
					This will set the PID for Bus 1 of ID 1 of the M3508 to PID_preset_t motorDrive1;

			setMotorPosition(CAN_Bus bus, MotorType_ID motorType, int8_t motorID, int16_t RPMtarget, PID_preset_t preset);
				Same as RPM but for Position

				EXAMPLE: setMotorPosition(Bus1, M3508, 1, 10, motorDrive1);

		MISCELANEOUS COMMANDS:
			HAL_GPIO_ReadPin(GPIO_TypeDef* GPIOx, uint16_t GPIO_Pin);
				Base HAL Library to read GPIO Pins
				The Key button has already been set up in the IOC so all you need is the example code

				EXAMPLE: if (HAL_GPIO_ReadPin(GPIOA, GPIO_PIN_0) == 0) {}
					Note that in this case, 0 is Pressed and 1 is Not Pressed
		 */
	  // float sumA[3] = {0};
	  /*
	  for (uint8_t i = 0; i < 3; i++) {
		  accelR[i] = IMU_get_accel(i);
		  gyroR[i] = IMU_get_gyro(i);
	  }

	  // getRotorPosition(Bus1, M2006, 1);
	  UART_Printf(&huart1, "%d\r\n", getRotorPosition(Bus1, M2006, 1));
	  */
	  /*
	  if (counter == 200) {
		  counter = 0;
	  }

	  for (uint8_t j = 0; j < 3; j++) {
		  averate[j][counter] = accelR[j] * 0.005;
	  }
	  for (uint16_t k = 0; k < 200; k++) {
		  for (uint8_t l = 0; l < 3; l++) {
			  sumA[l] += averate[l][k];
		  }
	  }
	  counter++;
	  */

	  //UART_Printf(&huart1, "%f %f %f\r\n%d %d %d\r\n\r\n", accelR[0], accelR[1], accelR[2]/*, gyroR[0], gyroR[1], gyroR[2]*/);

	  // UART_Printf(&huart1, "%f %f %f\r\n", accelR[0], accelR[1], accelR[2]);

	  // UART_Printf(&huart1, "%f %f %f %d\r\n\r\n", sumA[0], sumA[1], sumA[2], counter);

	  // DO NOT DELETE THIS!!!!
	  osDelay(5);

  }
  /* USER CODE END StartChassisTask */
}

void Error_Handler(void)
{
  __disable_irq();
  while (1)
  {
  }
}
